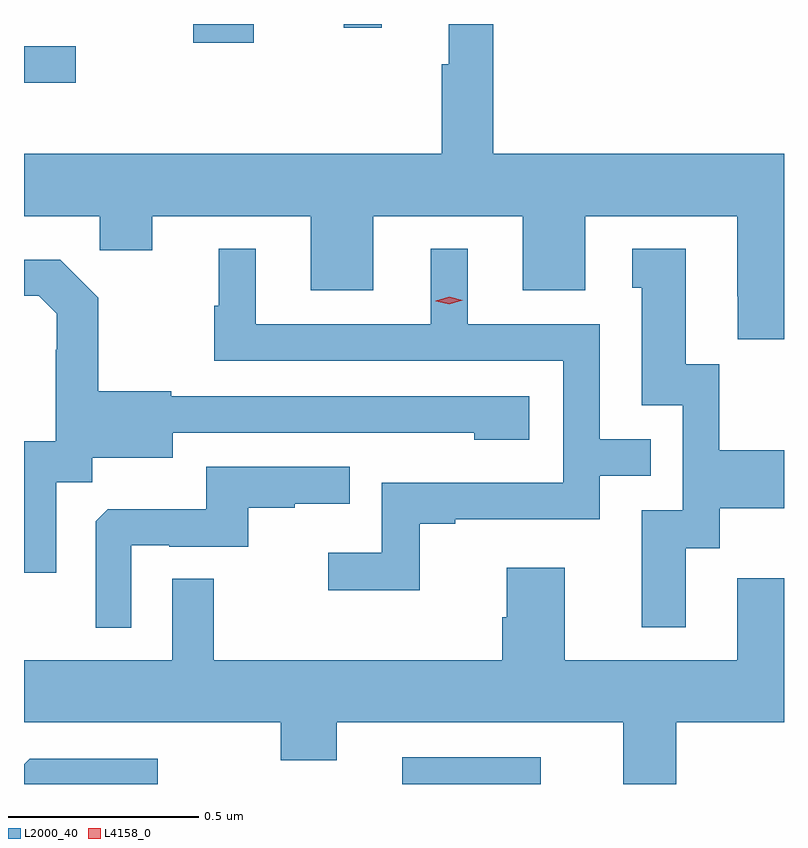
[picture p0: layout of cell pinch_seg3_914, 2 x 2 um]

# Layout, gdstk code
import gdstk
lib = gdstk.Library(unit=1e-6, precision=1e-09)
def R(c, l, rs):  # rectangles x0, y0, x1, y1
    for r in rs: c.add(gdstk.rectangle(r[:2], r[2:], *l))
def P(c, l, *ps):  # polygons
    for p in ps: c.add(gdstk.Polygon(p, *l))
L2000_40 = (2000, 40)
L4158_0 = (4158, 0)

pinch_seg3_914 = lib.new_cell('pinch_seg3_914')
R(pinch_seg3_914, L2000_40, [(858.089,694.094,858.454,694.164), (857.094,695.939,857.23,696.036), (857.54,696.045,857.698,696.094), (857.935,696.084,858.035,696.094)])
P(pinch_seg3_914, L2000_40, [(858.212,696.094),(858.212,695.988),(858.193,695.988),(858.193,695.752),(857.094,695.752),(857.094,695.588),(857.293,695.588),(857.293,695.498),(857.431,695.498),(857.431,695.588),(857.849,695.588),(857.849,695.394),(858.013,695.394),(858.013,695.588),(858.407,695.588),(858.407,695.394),(858.571,695.394),(858.571,695.588),(858.971,695.588),(858.971,695.377),(858.972,695.377),(858.972,695.265),(859.094,695.265),(859.094,695.752),(858.329,695.752),(858.329,696.094)],
  [(858.135,694.779),(858.229,694.779),(858.229,694.791),(858.609,694.791),(858.609,694.905),(858.743,694.905),(858.743,695.001),(858.609,695.001),(858.609,695.304),(858.262,695.304),(858.262,695.503),(858.164,695.503),(858.164,695.304),(857.704,695.304),(857.704,695.503),(857.606,695.503),(857.606,695.352),(857.595,695.352),(857.595,695.208),(858.513,695.208),(858.513,694.887),(858.036,694.887),(858.036,694.702),(857.895,694.702),(857.895,694.604),(858.135,694.604)],
  [(858.835,694.714),(858.925,694.714),(858.925,694.82),(859.094,694.82),(859.094,694.972),(858.924,694.972),(858.924,695.199),(858.835,695.199),(858.835,695.503),(858.695,695.503),(858.695,695.4),(858.719,695.4),(858.719,695.091),(858.828,695.091),(858.828,694.815),(858.719,694.815),(858.719,694.506),(858.835,694.506)],
  [(857.179,694.888),(857.274,694.888),(857.274,694.952),(857.485,694.952),(857.485,695.019),(858.043,695.019),(858.043,695.018),(858.279,695.018),(858.279,695),(858.424,695),(858.424,695.115),(857.481,695.115),(857.481,695.128),(857.289,695.128),(857.289,695.373),(857.189,695.473),(857.094,695.473),(857.094,695.379),(857.133,695.379),(857.18,695.332),(857.18,695.237),(857.178,695.237),(857.178,694.996),(857.094,694.996),(857.094,694.65),(857.179,694.65)],
  [(857.376,694.722),(857.476,694.722),(857.476,694.719),(857.684,694.719),(857.684,694.821),(857.807,694.821),(857.807,694.832),(857.951,694.832),(857.951,694.929),(857.574,694.929),(857.574,694.817),(857.315,694.817),(857.283,694.785),(857.283,694.505),(857.376,694.505)],
  [(858.811,694.256),(859.094,694.256),(859.094,694.636),(858.971,694.636),(858.971,694.42),(858.517,694.42),(858.517,694.663),(858.365,694.663),(858.365,694.533),(858.353,694.533),(858.353,694.42),(857.593,694.42),(857.593,694.634),(857.484,694.634),(857.484,694.42),(857.094,694.42),(857.094,694.256),(857.77,694.256),(857.77,694.157),(857.917,694.157),(857.917,694.256),(858.671,694.256),(858.671,694.094),(858.811,694.094)],
  [(857.446,694.161),(857.109,694.161),(857.094,694.146),(857.094,694.094),(857.446,694.094)])
P(pinch_seg3_914, L4158_0, [(858.213,695.356),(858.177,695.365),(858.177,695.366),(858.177,695.366),(858.213,695.376),(858.249,695.367),(858.249,695.367),(858.249,695.367)])

lib.write_gds('pinch_seg3_914.gds')
